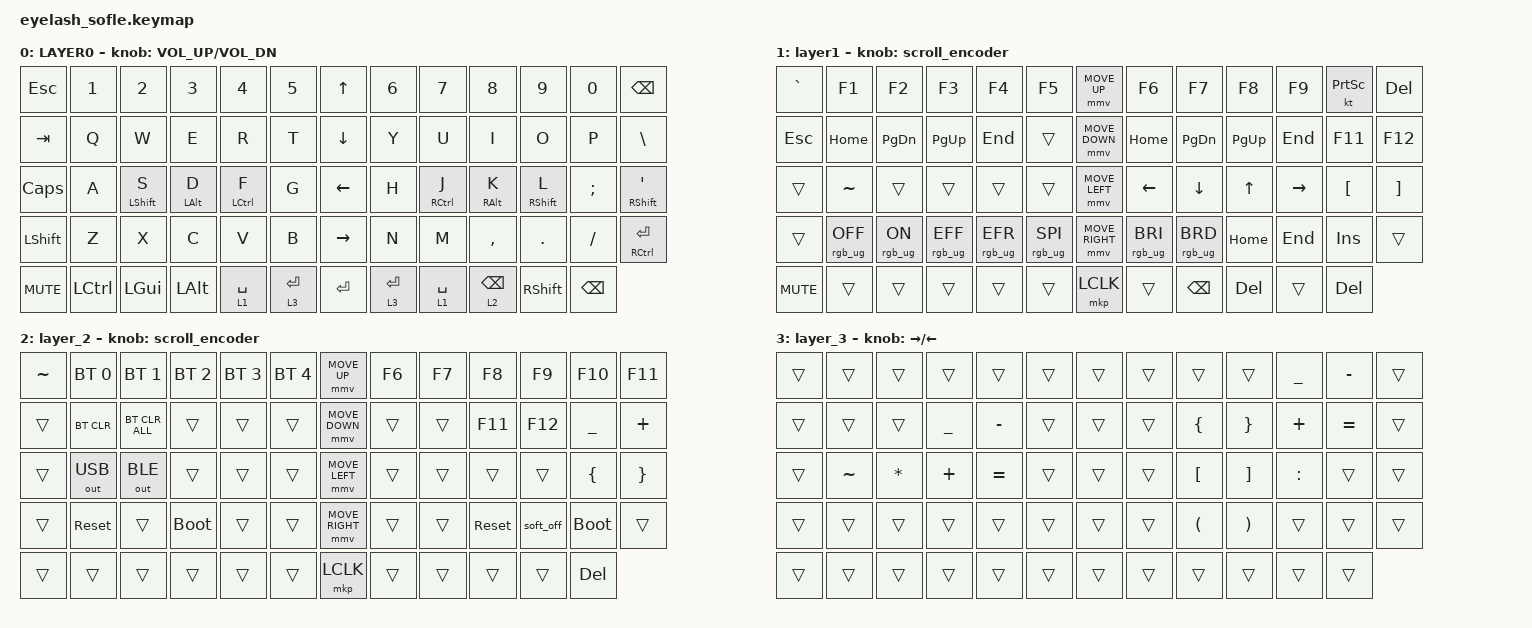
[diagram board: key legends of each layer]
#define ZMK_POINTING_DEFAULT_MOVE_VAL 1200  // 600
#define ZMK_POINTING_DEFAULT_SCRL_VAL 25   // 10

#include <input/processors.dtsi>
#include <zephyr/dt-bindings/input/input-event-codes.h>
#include <behaviors.dtsi>
#include <dt-bindings/zmk/bt.h>
#include <dt-bindings/zmk/keys.h>
#include <dt-bindings/zmk/outputs.h>
#include <dt-bindings/zmk/pointing.h>
#include <dt-bindings/zmk/rgb.h>

&mmv_input_listener { input-processors = <&zip_xy_scaler 2 1>; };

&msc_input_listener { input-processors = <&zip_scroll_scaler 2 1>; };

&msc {
    acceleration-exponent = <1>;      // 0
    time-to-max-speed-ms = <100>;       // 300
    delay-ms = <0>;                   // 0
};

&mmv {
    time-to-max-speed-ms = <500>;
    acceleration-exponent = <1>;
    trigger-period-ms = <16>;
};

/ {
    scroll_encoder: scroll_encoder {
        compatible = "zmk,behavior-sensor-rotate";
        #sensor-binding-cells = <0>;
        bindings = <&msc SCRL_DOWN>, <&msc SCRL_UP>;

        tap-ms = <100>;
    };

    hr_r: hr_r {
        compatible = "zmk,behavior-hold-tap";
        label = "HR_R";
        bindings = <&kp>, <&kp>;

        #binding-cells = <2>;
        flavor = "balanced";
        tapping-term-ms = <280>;
        quick-tap-ms = <175>;
        require-prior-idle-ms = <200>;
        hold-trigger-on-release;
        hold-trigger-key-positions = <43 42 41 30 29 28 14 15 16 17 18 29 31 27 40 39 13 26 0 1 2 3 4 5 44 56 55 54 53 57>;
    };

    hr_l: hr_l {
        compatible = "zmk,behavior-hold-tap";
        label = "HR_L";
        bindings = <&kp>, <&kp>;

        #binding-cells = <2>;
        flavor = "balanced";
        tapping-term-ms = <280>;
        quick-tap-ms = <175>;
        require-prior-idle-ms = <200>;
        hold-trigger-on-release;
        hold-trigger-key-positions = <47 34 35 48 49 36 7 8 9 10 11 12 20 21 22 23 24 25 33 34 35 36 37 38 46 47 48 49 50 51 60 61 62 63 59>;
    };

    behaviors {
    };

    keymap {
        compatible = "zmk,keymap";

        layer0 {
            bindings = <
&kp ESC     &kp N1     &kp N2         &kp N3            &kp N4         &kp N5         &kp UP_ARROW     &kp N6       &kp N7         &kp N8             &kp N9           &kp N0         &kp BACKSPACE
&kp TAB     &kp Q      &kp W          &kp E             &kp R          &kp T          &kp DOWN_ARROW   &kp Y        &kp U          &kp I              &kp O            &kp P          &kp BSLH
&kp CAPS    &kp A      &hr_l LSHFT S  &hr_l LEFT_ALT D  &hr_l LCTRL F  &kp G          &kp LEFT_ARROW   &kp H        &hr_r RCTRL J  &hr_r RIGHT_ALT K  &hr_r RSHFT L    &kp SEMI       &hr_r RSHFT APOS
&kp LSHFT   &kp Z      &kp X          &kp C             &kp V          &kp B          &kp RIGHT_ARROW  &kp N        &kp M          &kp COMMA          &kp DOT          &kp FSLH       &mt RCTRL ENTER
&kp C_MUTE  &kp LCTRL  &kp LEFT_GUI   &kp LEFT_ALT      &lt 1 SPACE    &lt 3 ENTER    &kp ENTER        &lt 3 ENTER  &lt 1 SPACE    &lt 2 BACKSPACE    &kp RIGHT_SHIFT  &kp BACKSPACE
            >;

            sensor-bindings = <&inc_dec_kp C_VOLUME_UP C_VOL_DN>;
            display-name = "LAYER0";
        };

        layer_1 {
            bindings = <
&kp GRAVE   &kp F1           &kp F2          &kp F3           &kp F4           &kp F5             &mmv MOVE_UP     &kp F6           &kp F7           &kp F8        &kp F9     &kt PRINTSCREEN   &kp DELETE
&kp ESCAPE  &kp HOME         &kp PAGE_DOWN   &kp PG_UP        &kp END          &trans             &mmv MOVE_DOWN   &kp HOME         &kp PAGE_DOWN    &kp PAGE_UP   &kp END    &kp F11           &kp F12
&trans      &kp TILDE        &trans          &trans           &trans           &trans             &mmv MOVE_LEFT   &kp LEFT         &kp DOWN         &kp UP_ARROW  &kp RIGHT  &kp LEFT_BRACKET  &kp RIGHT_BRACKET
&trans      &rgb_ug RGB_OFF  &rgb_ug RGB_ON  &rgb_ug RGB_EFF  &rgb_ug RGB_EFR  &rgb_ug RGB_SPI    &mmv MOVE_RIGHT  &rgb_ug RGB_BRI  &rgb_ug RGB_BRD  &kp HOME      &kp END    &kp INS           &trans
&kp C_MUTE  &trans           &trans          &trans           &trans           &trans             &mkp LCLK        &trans           &kp BACKSPACE    &kp DELETE    &trans     &kp DEL
            >;

            display-name = "layer1";
            sensor-bindings = <&scroll_encoder>;
        };

        layer_2 {
            bindings = <
&kp TILDE  &bt BT_SEL 0  &bt BT_SEL 1    &bt BT_SEL 2  &bt BT_SEL 3  &bt BT_SEL 4    &mmv MOVE_UP     &kp F6  &kp F7  &kp F8      &kp F9     &kp F10      &kp F11
&trans     &bt BT_CLR    &bt BT_CLR_ALL  &trans        &trans        &trans          &mmv MOVE_DOWN   &trans  &trans  &kp F11     &kp F12    &kp UNDER    &kp PLUS
&trans     &out OUT_USB  &out OUT_BLE    &trans        &trans        &trans          &mmv MOVE_LEFT   &trans  &trans  &trans      &trans     &kp LBRC     &kp RBRC
&trans     &sys_reset    &trans          &bootloader   &trans        &trans          &mmv MOVE_RIGHT  &trans  &trans  &sys_reset  &soft_off  &bootloader  &trans
&trans     &trans        &trans          &trans        &trans        &trans          &mkp LCLK        &trans  &trans  &trans      &trans     &kp DELETE
            >;

            sensor-bindings = <&scroll_encoder>;
        };

        layer_3 {
            bindings = <
&trans  &trans     &trans        &trans     &trans     &trans    &trans  &trans  &trans                &trans                 &kp UNDER  &kp MINUS  &trans
&trans  &trans     &trans        &kp UNDER  &kp MINUS  &trans    &trans  &trans  &kp LEFT_BRACE        &kp RIGHT_BRACE        &kp PLUS   &kp EQUAL  &trans
&trans  &kp TILDE  &kp ASTERISK  &kp PLUS   &kp EQUAL  &trans    &trans  &trans  &kp LEFT_BRACKET      &kp RIGHT_BRACKET      &kp COLON  &trans     &trans
&trans  &trans     &trans        &trans     &trans     &trans    &trans  &trans  &kp LEFT_PARENTHESIS  &kp RIGHT_PARENTHESIS  &trans     &trans     &trans
&trans  &trans     &trans        &trans     &trans     &trans    &trans  &trans  &trans                &trans                 &trans     &trans
            >;

            sensor-bindings = <&inc_dec_kp RIGHT_ARROW LEFT_ARROW>;
        };
    };
};
